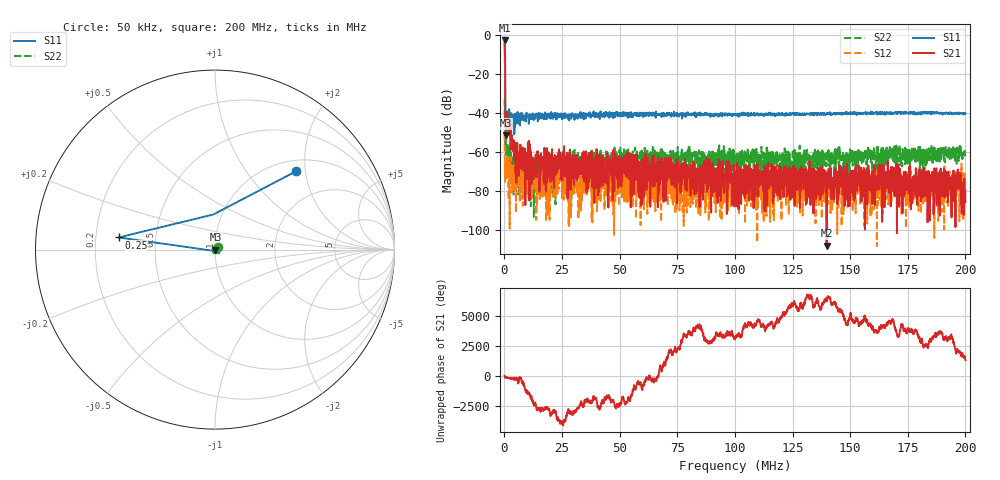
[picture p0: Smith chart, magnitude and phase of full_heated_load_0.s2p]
! 26-Feb-26 2:19:51 PM
! E:\VNA_MEASUREMENTS\HEATED_LOAD\FULL_HEATED_LOAD_0.S2P
! CHANNEL.1
! TR.MEASUREMENT
! CORRECTED.DATA
# GHZ S RI R 50.0
! FREQ.GHZ  S11RE  S11IM  S21RE  S21IM  S12RE  S12IM  S22RE  S22IM
!; PortSelection: Port_12
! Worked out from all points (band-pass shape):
!   2000 points, 50 kHz to 200 MHz, reference 50 ohm
!   highest |S21| = -2.91 dB at 50 kHz (marker M1); lowest = -108.3 dB at 139.8 MHz (marker M2)
!   |S21| within 3 dB of the highest: start of sweep to 124.9 kHz
!   lowest |S11| = -51.7 dB at 750.2 kHz (marker M3), VSWR 1.01, Z = 50.3 + j0.0452 ohm
!   |S11| at or under -10 dB: 108.7 kHz to 197.3 kHz (88.55 kHz wide, 57.9 % of centre); 264.6 kHz to end of sweep
!   |S22| runs from -93.9 to -33.1 dB; largest |S21 - S12| = 0.71
!   S11 on the Smith chart (normalised r, x): 50 kHz: 1.24, +1.77; 250 kHz: 0.30, +0.06; 200 MHz: 1.02, -0.01
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5e-05  0.4502 0.4356  0.7047 0.1226  0.00264 -0.00101  0.0164 0.0148
0.00025005  -0.5363 0.0677  -0.261 -0.1553  -0.000117 -0.000103  0.000828 -0.00264
0.000750175  0.00257 0.000449  -0.00566 -0.00434  -0.000542 -0.000228  -0.000812 -3.05e-05
0.00145035  0.00284 0.00289  -0.00629 -0.00159  -0.000269 0.000124  0.00101 0.00122
0.0032508  0.00859 -0.00288  -0.000106 0.00189  2.8e-06 -9.05e-05  -0.000228 -0.000351
0.005551376  0.00666 0.00241  0.00157 0.000559  4.34e-05 -8.84e-05  9.96e-05 -0.00076
0.0104526  0.0084 0.00159  -0.000123 0.000897  -7.38e-05 -0.000174  -0.000106 -0.000281
0.01255313  0.00898 -0.000218  -9.77e-05 -0.000172  3.4e-05 0.000157  0.000415 -0.000443
0.0140535  0.00781 0.000107  0.000361 0.000202  -7.4e-06 -3.79e-05  0.000172 -8.75e-05
0.03345835  0.00829 0.000459  7.71e-05 -0.000246  0.000131 0.00015  0.000387 0.000365
0.06676668  0.00864 -0.0015  8.14e-05 -0.000163  7.62e-05 0.000197  0.000671 0.000315
0.09777444  0.00944 -0.0009  0.000114 0.000112  0.000112 9.15e-05  0.000297 0.000544
0.100075  0.00862 -0.00155  -0.000116 -0.000167  0.000133 8.59e-05  0.000524 0.000296
0.1051763  0.00927 -0.00156  3.57e-05 8.21e-05  5.25e-05 -5.13e-05  0.000753 0.000171
0.1333833  0.00851 -0.00297  -5.51e-05 -9.21e-05  0.000107 0.000185  0.000489 0.000225
0.1397849  0.00896 -0.00366  -3.4e-06 1.8e-06  -2.79e-05 9.56e-05  0.000687 -3.4e-06
0.1483871  0.00953 -0.00394  0.000142 -9.84e-05  2.39e-05 5.39e-05  0.000348 0.000554
0.16009  0.00852 -0.00363  -9.59e-05 -5.28e-05  2.3e-05 4.12e-05  0.000331 0.000467
0.1632908  0.00885 -0.0045  -2.97e-05 0.000259  0.000144 4.82e-05  0.000268 0.000228
0.1666917  0.00871 -0.00364  -0.000115 5.96e-05  0.000103 -9.5e-05  0.000705 0.000287
0.1968992  0.00884 -0.00448  -0.000111 7.08e-05  -0.00011 -0.000189  0.000151 0.000891
0.2  0.00818 -0.0048  -3.74e-05 -3.33e-05  -1.07e-05 -0.000102  0.000262 0.00104
